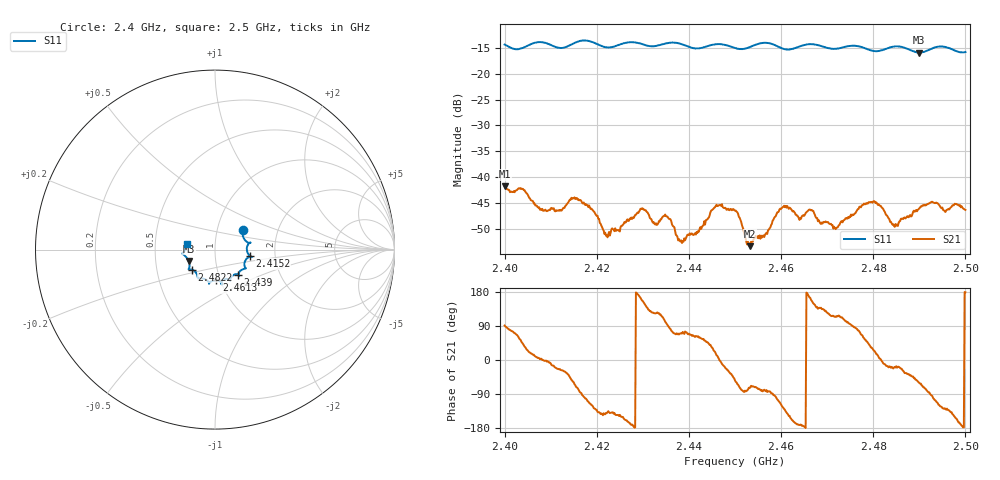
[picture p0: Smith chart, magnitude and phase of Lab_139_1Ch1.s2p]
# Hz S RI R 50
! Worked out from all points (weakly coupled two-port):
!   601 points, 2.4 GHz to 2.5 GHz, reference 50 ohm
!   highest |S21| = -41.79 dB at 2.4 GHz (marker M1); lowest = -53.3 dB at 2.4532 GHz (marker M2)
!   lowest |S11| = -15.9 dB at 2.49 GHz (marker M3), VSWR 1.38, Z = 36.9 - j4.85 ohm
!   |S11| at or under -10 dB: start of sweep to end of sweep
!   S12 and S22 are empty: the file has one direction only
!   S11 on the Smith chart (normalised r, x): 2.4 GHz: 1.33, +0.31; 2.4152 GHz: 1.48, -0.11; 2.439 GHz: 1.24, -0.36; 2.4613 GHz: 0.96, -0.34; 2.4822 GHz: 0.76, -0.17; 2.5 GHz: 0.72, +0.05
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2.4e9  0.1559 0.1109  -0.000134 0.00813  0 0  0 0
2.408833e9  0.1949 0.0386  0.00485 -0.000182  0 0  0 0
2.415167e9  0.1948 -0.0359  0.00282 -0.00572  0 0  0 0
2.416667e9  0.2043 -0.0419  0.000236 -0.00586  0 0  0 0
2.422333e9  0.1676 -0.0637  -0.00194 -0.00176  0 0  0 0
2.429833e9  0.1607 -0.1078  -0.0046 0.00196  0 0  0 0
2.433333e9  0.1325 -0.1328  -0.00197 0.00299  0 0  0 0
2.435333e9  0.1325 -0.146  -0.000223 0.00416  0 0  0 0
2.439e9  0.1278 -0.139  0.000931 0.00239  0 0  0 0
2.446e9  0.085 -0.1733  0.00529 0.00116  0 0  0 0
2.45e9  0.0688 -0.1633  0.00279 -0.00383  0 0  0 0
2.453167e9  0.0379 -0.1764  0.000586 -0.00207  0 0  0 0
2.461333e9  0.00754 -0.171  -0.00411 -0.0033  0 0  0 0
2.464e9  -0.0269 -0.1812  -0.00382 -0.000561  0 0  0 0
2.466667e9  -0.0335 -0.19  -0.0044 0.00196  0 0  0 0
2.471833e9  -0.0637 -0.162  -0.00132 0.00286  0 0  0 0
2.478167e9  -0.0975 -0.1472  0.0032 0.00443  0 0  0 0
2.482167e9  -0.1282 -0.1118  0.00487 -0.000755  0 0  0 0
2.483333e9  -0.1395 -0.11  0.00378 -0.00133  0 0  0 0
2.485e9  -0.1471 -0.1102  0.00326 -0.00096  0 0  0 0
2.49e9  -0.1467 -0.0639  0.00244 -0.00435  0 0  0 0
2.5e9  -0.1585 0.0336  -0.00483 0.000103  0 0  0 0
